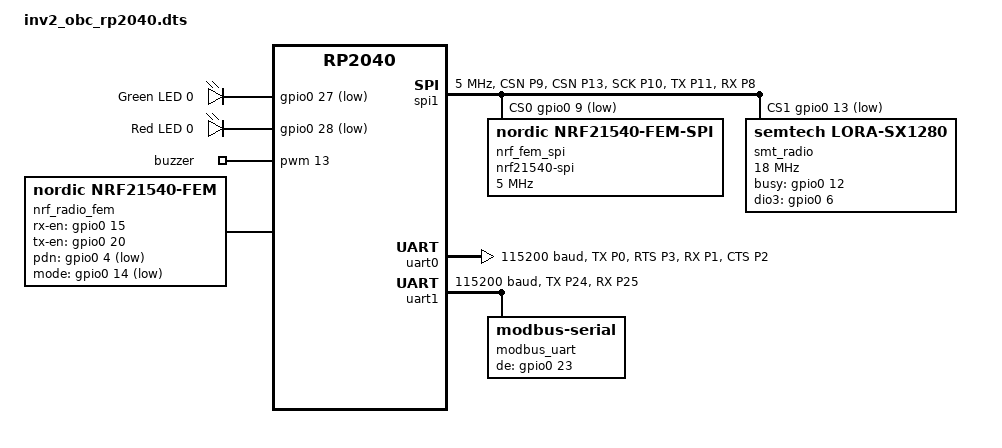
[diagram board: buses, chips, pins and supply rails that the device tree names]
/*
* Copyright (c) 2021 Yonatan Schachter
*
* SPDX-License-Identifier: Apache-2.0
*/

/dts-v1/;

#include <freq.h>
#include <raspberrypi/rpi_pico/rp2040.dtsi>
#include <zephyr/dt-bindings/pwm/pwm.h>
#include <zephyr/dt-bindings/i2c/i2c.h>
#include <zephyr/dt-bindings/pinctrl/rpi-pico-rp2040-pinctrl.h>

#include "common/inv2_pinctrl_common.dtsi"
#include "common/inv2_common.dtsi"
#include "common/inv2_sdcard.dtsi"

/ {
  aliases {
    led0 = &led_green_0;
    lora0 = &smt_radio;
    modbus-rtu = &modbus_uart;
  };

  leds {
    compatible = "gpio-leds";
    status = "okay";

    led_green_0: led0 {
      label = "Green LED 0";
      gpios = <&gpio0 27 (GPIO_PULL_UP | GPIO_ACTIVE_LOW)>;
    };

    led_red_0: led2 {
      label = "Red LED 0";
      gpios = <&gpio0 28 (GPIO_PULL_UP | GPIO_ACTIVE_LOW)>;
    };
  };

  pwmleds {
    compatible = "pwm-leds";
    buzzer: buzzer {
      pwms = <&pwm 13 PWM_MSEC(1) PWM_POLARITY_NORMAL>; // PWM Channel 13 -> PWM6_B -> GPIO29
    };
  };

  nrf_radio_fem: nrf21540 {
    compatible = "nordic,nrf21540-fem";
    spi-if = <&nrf_fem_spi>;
    rx-en-gpios = <&gpio0 15 GPIO_ACTIVE_HIGH>;
    tx-en-gpios = <&gpio0 20 GPIO_ACTIVE_HIGH>;
    pdn-gpios = <&gpio0 4 GPIO_ACTIVE_LOW>;
    mode-gpios = <&gpio0 14 GPIO_ACTIVE_LOW>;
    /* ant-sel is grounded. Remaining props left as default */
  };
};

&spi1 {
  clock-frequency = <DT_FREQ_M(5)>;
  status = "okay";
  pinctrl-0 = <&spi1_obc>;
  pinctrl-names = "default";

  cs-gpios = <&gpio0 9 GPIO_ACTIVE_LOW>, // NRF21540 CS
  <&gpio0 13 GPIO_ACTIVE_LOW>; // SX1280 CS

  nrf_fem_spi: nrf21540-spi@0{
    compatible = "nordic,nrf21540-fem-spi";
    reg = <0>;
    spi-max-frequency = <DT_FREQ_M(5)>;
  };

  smt_radio: sx1280@1 {
    compatible = "semtech,lora-sx1280";
    reg = <1>;
    spi-max-frequency = <DT_FREQ_M(18)>;

    busy-gpios = <&gpio0 12 GPIO_ACTIVE_HIGH>;
		dio3-gpios = <&gpio0 6 GPIO_ACTIVE_HIGH>;
    /* reset-gpios = <&gpio0 10 GPIO_ACTIVE_LOW>; // TODO check if still needed */
  };
};

&uart0 {
  status = "okay";
  current-speed = <115200>;
  pinctrl-0 = <&uart0_hw_flow_ctrl>;
  pinctrl-names = "default";
  hw-flow-control;
};

// RS483 Modbus RTU master
&uart1 {
  current-speed = <115200>;
  status = "okay";
  pinctrl-0 = <&uart_rs485>;
  pinctrl-names = "default";

  modbus_uart: modbus0{
    compatible = "zephyr,modbus-serial";
    status = "okay";
    de-gpios = <&gpio0 23 GPIO_ACTIVE_HIGH>;
  };
};

&pinctrl{
  uart0_hw_flow_ctrl: uart0_hw_flow_ctrl {
    group1 {
      pinmux = <UART0_TX_P0>, <UART0_RTS_P3>;
    };
    group2 {
      pinmux = <UART0_RX_P1>, <UART0_CTS_P2>;
      input-enable;
    };
  };

  uart_rs485: uart_rs485 {
    group1 {
      pinmux = <UART1_TX_P24>;
    };
    group2 {
      pinmux = <UART1_RX_P25>;
      input-enable;
    };
  };

  spi1_obc: spi1_obc {
    group1 {
      pinmux = <SPI1_CSN_P9>, <SPI1_CSN_P13>, <SPI1_SCK_P10>, <SPI1_TX_P11>;
    };
    group2 {
      pinmux = <SPI1_RX_P8>;
      input-enable;
    };
  };
};
